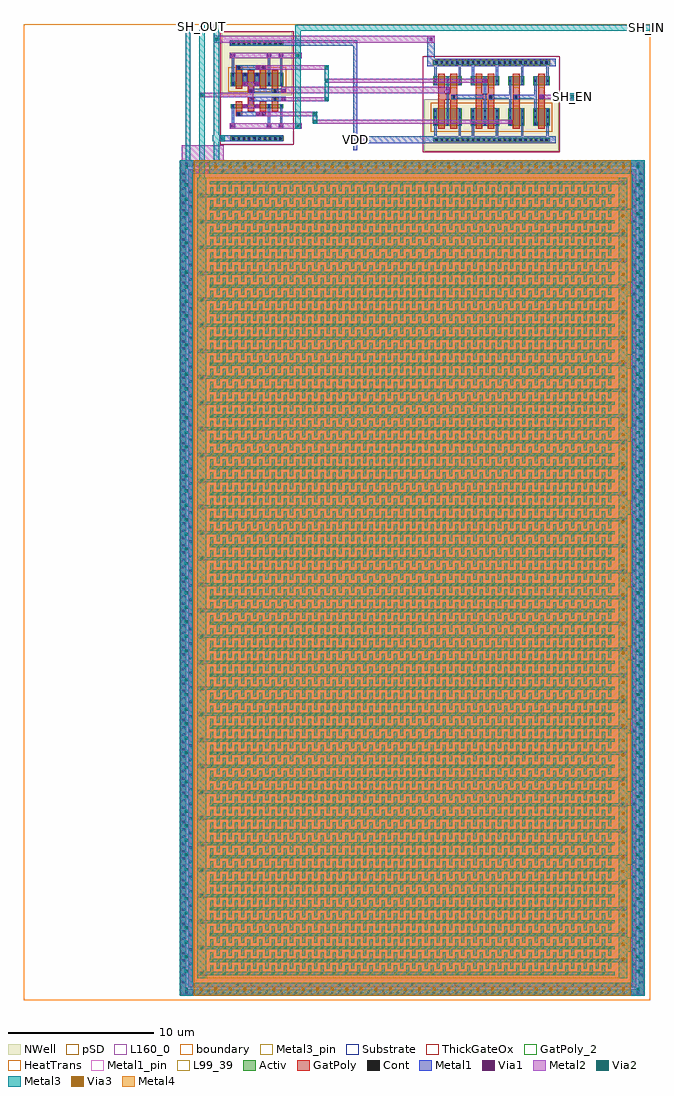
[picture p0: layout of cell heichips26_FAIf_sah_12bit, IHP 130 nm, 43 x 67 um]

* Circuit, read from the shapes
.subckt heichips26_FAIf_sah_12bit SH_EN SH_IN SH_OUT VDD VSS
XM1 SH_OUT n1 SH_IN VSS sg13_hv_nmos w=0.3u l=0.45u m=2
XM2 SH_OUT n2 SH_OUT VSS sg13_hv_nmos w=0.3u l=0.45u
XM3 SH_IN n2 SH_IN VSS sg13_hv_nmos w=0.3u l=0.45u
XM4 n3 n2 VSS VSS sg13_hv_nmos w=0.6u l=0.45u m=2
XM5 n2 n1 VSS VSS sg13_hv_nmos w=0.6u l=0.45u m=2
XM6 VSS n4 n1 VSS sg13_hv_nmos w=0.6u l=0.45u
XM7 VSS SH_EN n4 VSS sg13_hv_nmos w=0.6u l=0.45u
XM8 SH_OUT n2 SH_IN VDD sg13_hv_pmos w=0.9u l=0.45u m=2
XM9 SH_OUT n3 SH_OUT VDD sg13_hv_pmos w=0.9u l=0.45u
XM10 SH_IN n3 SH_IN VDD sg13_hv_pmos w=0.9u l=0.45u
XM11 n3 n2 VDD VDD sg13_hv_pmos w=1.2u l=0.45u m=2
XM12 n2 n1 VDD VDD sg13_hv_pmos w=1.2u l=0.45u m=2
XM13 VDD n4 n1 VDD sg13_hv_pmos w=1.2u l=0.45u
XM14 VDD SH_EN n4 VDD sg13_hv_pmos w=1.2u l=0.45u
.ends

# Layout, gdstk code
from math import pi, radians
import gdstk
lib = gdstk.Library(unit=1e-6, precision=1e-09)
def R(c, l, rs):  # rectangles x0, y0, x1, y1
    for r in rs: c.add(gdstk.rectangle(r[:2], r[2:], *l))
def A(c, l, x, y, w, h, nx, ny, dx, dy):  # array of equal rectangles
    R(c, l, [(x+i*dx, y+j*dy, x+i*dx+w, y+j*dy+h) for i in range(nx) for j in range(ny)])
Activ = (1, 0)
GatPoly = (5, 0)
GatPoly_2 = (5, 2)
Cont = (6, 0)
Metal1 = (8, 0)
Metal1_pin = (8, 2)
Metal2 = (10, 0)
pSD = (14, 0)
Via1 = (19, 0)
Via2 = (29, 0)
Metal3 = (30, 0)
Metal3_pin = (30, 2)
NWell = (31, 0)
Substrate = (40, 0)
ThickGateOx = (44, 0)
Via3 = (49, 0)
Metal4 = (50, 0)
HeatTrans = (51, 0)
L99_39 = (99, 39)
L160_0 = (160, 0)
boundary = (189, 4)

heichips26_faif_sah_sah1 = lib.new_cell('heichips26_FAIf_sah_sah12_drv_nmosHV_w1p2_ng2')
A(heichips26_faif_sah_sah1, Activ, 0, 0, 0.3, 0.3, 3, 1, 0.83, 0)
R(heichips26_faif_sah_sah1, Activ, [(0,0,1.96,0.6)])
R(heichips26_faif_sah_sah1, GatPoly, [(0.34,-0.18,0.79,0.78), (1.17,-0.18,1.62,0.78)])
R(heichips26_faif_sah_sah1, GatPoly_2, [(0.34,-0.18,0.79,0.78)])
A(heichips26_faif_sah_sah1, Cont, 0.07, 0.22, 0.16, 0.16, 3, 1, 0.83, 0)
A(heichips26_faif_sah_sah1, Metal1, 0.07, 0, 0.16, 0.6, 3, 1, 0.83, 0)
R(heichips26_faif_sah_sah1, Metal1_pin, [(0.07,0,0.23,0.6), (0.9,0,1.06,0.6)])
R(heichips26_faif_sah_sah1, ThickGateOx, [(-0.27,-0.52,2.23,1.12)])
R(heichips26_faif_sah_sah1, HeatTrans, [(0.34,-0.18,0.79,0.78), (1.17,-0.18,1.62,0.78)])
heichips26_faif_sah_sah1.add(gdstk.Label('nmosHV', (0.565,0.3), layer=63, texttype=0))
heichips26_faif_sah_sah1.add(gdstk.Label('nmosHV', (0.565,0.3), layer=51, texttype=0))
heichips26_faif_sah_sah1.add(gdstk.Label('nmosHV', (1.395,0.3), layer=51, texttype=0))

c_heichips26_faif_sah_sah1 = lib.new_cell('heichips26_FAIf_sah_sah12_drv_pmosHV_w2p4_ng2')
A(c_heichips26_faif_sah_sah1, Activ, 0, 0, 0.3, 0.3, 3, 1, 0.83, 0)
R(c_heichips26_faif_sah_sah1, Activ, [(0,0,1.96,1.2)])
R(c_heichips26_faif_sah_sah1, GatPoly, [(0.34,-0.18,0.79,1.38), (1.17,-0.18,1.62,1.38)])
R(c_heichips26_faif_sah_sah1, GatPoly_2, [(0.34,-0.18,0.79,1.38)])
A(c_heichips26_faif_sah_sah1, Cont, 0.07, 0.07, 0.16, 0.16, 3, 3, 0.83, 0.45)
A(c_heichips26_faif_sah_sah1, Metal1, 0.07, 0, 0.16, 1.2, 3, 1, 0.83, 0)
R(c_heichips26_faif_sah_sah1, Metal1_pin, [(0.07,0,0.23,1.2), (0.9,0,1.06,1.2)])
R(c_heichips26_faif_sah_sah1, pSD, [(-0.18,-0.4,2.14,1.6)])
R(c_heichips26_faif_sah_sah1, NWell, [(-0.62,-0.62,2.58,1.82)])
R(c_heichips26_faif_sah_sah1, Substrate, [(1.66,0,1.96,0.3)])
R(c_heichips26_faif_sah_sah1, ThickGateOx, [(-0.62,-0.62,2.58,1.82)])
R(c_heichips26_faif_sah_sah1, HeatTrans, [(0.34,-0.18,0.79,1.38), (1.17,-0.18,1.62,1.38)])
c_heichips26_faif_sah_sah1.add(gdstk.Label('pmosHV', (0.565,0.6), layer=63, texttype=0))
c_heichips26_faif_sah_sah1.add(gdstk.Label('pmos', (0.565,0.6), layer=51, texttype=0))
c_heichips26_faif_sah_sah1.add(gdstk.Label('pmos', (1.395,0.6), layer=51, texttype=0))

c_heichips26_faif_sah_sah1_ = lib.new_cell('heichips26_FAIf_sah_sah12_drv_nmosHV_w0p6_ng1')
R(c_heichips26_faif_sah_sah1_, Activ, [(0,0,0.3,0.3), (0,0,1.13,0.6), (0.83,0,1.13,0.3)])
R(c_heichips26_faif_sah_sah1_, GatPoly, [(0.34,-0.18,0.79,0.78)])
R(c_heichips26_faif_sah_sah1_, GatPoly_2, [(0.34,-0.18,0.79,0.78)])
R(c_heichips26_faif_sah_sah1_, Cont, [(0.07,0.22,0.23,0.38), (0.9,0.22,1.06,0.38)])
R(c_heichips26_faif_sah_sah1_, Metal1, [(0.07,0,0.23,0.6), (0.9,0,1.06,0.6)])
R(c_heichips26_faif_sah_sah1_, Metal1_pin, [(0.07,0,0.23,0.6), (0.9,0,1.06,0.6)])
R(c_heichips26_faif_sah_sah1_, ThickGateOx, [(-0.27,-0.52,1.4,1.12)])
R(c_heichips26_faif_sah_sah1_, HeatTrans, [(0.34,-0.18,0.79,0.78)])
c_heichips26_faif_sah_sah1_.add(gdstk.Label('nmosHV', (0.565,0.3), layer=63, texttype=0))
c_heichips26_faif_sah_sah1_.add(gdstk.Label('nmosHV', (0.565,0.3), layer=51, texttype=0))

c_heichips26_faif_sah_sah1__ = lib.new_cell('heichips26_FAIf_sah_sah12_drv_pmosHV_w1p2_ng1')
R(c_heichips26_faif_sah_sah1__, Activ, [(0,0,0.3,0.3), (0,0,1.13,1.2), (0.83,0,1.13,0.3)])
R(c_heichips26_faif_sah_sah1__, GatPoly, [(0.34,-0.18,0.79,1.38)])
R(c_heichips26_faif_sah_sah1__, GatPoly_2, [(0.34,-0.18,0.79,1.38)])
A(c_heichips26_faif_sah_sah1__, Cont, 0.07, 0.07, 0.16, 0.16, 1, 3, 0, 0.45)
A(c_heichips26_faif_sah_sah1__, Cont, 0.9, 0.07, 0.16, 0.16, 1, 3, 0, 0.45)
R(c_heichips26_faif_sah_sah1__, Metal1, [(0.07,0,0.23,1.2), (0.9,0,1.06,1.2)])
R(c_heichips26_faif_sah_sah1__, Metal1_pin, [(0.07,0,0.23,1.2), (0.9,0,1.06,1.2)])
R(c_heichips26_faif_sah_sah1__, pSD, [(-0.18,-0.4,1.31,1.6)])
R(c_heichips26_faif_sah_sah1__, NWell, [(-0.62,-0.62,1.75,1.82)])
R(c_heichips26_faif_sah_sah1__, Substrate, [(0.83,0,1.13,0.3)])
R(c_heichips26_faif_sah_sah1__, ThickGateOx, [(-0.62,-0.62,1.75,1.82)])
R(c_heichips26_faif_sah_sah1__, HeatTrans, [(0.34,-0.18,0.79,1.38)])
c_heichips26_faif_sah_sah1__.add(gdstk.Label('pmosHV', (0.565,0.6), layer=63, texttype=0))
c_heichips26_faif_sah_sah1__.add(gdstk.Label('pmos', (0.565,0.6), layer=51, texttype=0))

c_heichips26_faif_sah_sah1___ = lib.new_cell('heichips26_FAIf_sah_sah12_driver')
R(c_heichips26_faif_sah_sah1___, Activ, [(1,56,8.98,56.3), (1,61.3,8.98,61.6)])
A(c_heichips26_faif_sah_sah1___, GatPoly, 1.34, 58.3, 0.45, 1.6, 3, 1, 1.73, 0)
R(c_heichips26_faif_sah_sah1___, GatPoly, [(5.63,58.3,6.08,59.9), (7.36,58.3,7.81,59.9), (8.19,58.3,8.64,59.9), (4.8,58.9,6.08,59.3), (7.36,58.9,8.64,59.3)])
A(c_heichips26_faif_sah_sah1___, Cont, 1.13, 56.07, 0.16, 0.16, 22, 2, 0.36, 5.3)
A(c_heichips26_faif_sah_sah1___, Cont, 1.485, 59.02, 0.16, 0.16, 3, 1, 1.73, 0)
R(c_heichips26_faif_sah_sah1___, Cont, [(7.505,59.02,7.665,59.18)])
A(c_heichips26_faif_sah_sah1___, Metal1, 1.07, 56.4, 0.16, 0.7, 3, 2, 1.73, 4.1)
A(c_heichips26_faif_sah_sah1___, Metal1, 1.9, 57.1, 0.16, 3.4, 3, 1, 1.73, 0)
A(c_heichips26_faif_sah_sah1___, Metal1, 1.41, 58.945, 0.31, 0.31, 3, 1, 1.73, 0)
R(c_heichips26_faif_sah_sah1___, Metal1, [(0.6,55.9,9.4,56.4), (6.19,56.4,6.35,57.1), (7.09,56.4,7.25,57.1), (8.75,56.4,8.91,57.1), (7.92,57.1,8.08,60.5), (7.43,58.945,7.74,59.255), (1.9,58.97,3.45,59.23), (3.63,58.97,5.18,59.23), (5.36,58.97,7.74,59.23), (6.19,60.5,6.35,61.2), (7.09,60.5,7.25,61.2), (8.75,60.5,8.91,61.2), (0.6,61.2,9.4,61.7)])
R(c_heichips26_faif_sah_sah1___, pSD, [(0.82,56.7,9.16,58.7), (0.97,61.27,9.01,61.63)])
R(c_heichips26_faif_sah_sah1___, NWell, [(0.38,55.38,9.6,58.92)])
R(c_heichips26_faif_sah_sah1___, ThickGateOx, [(0.3,55.3,9.7,61.9)])
c_heichips26_faif_sah_sah1___.add(gdstk.Reference(heichips26_faif_sah_sah1, (4.46,59.9)))
c_heichips26_faif_sah_sah1___.add(gdstk.Reference(heichips26_faif_sah_sah1, (7.02,59.9)))
c_heichips26_faif_sah_sah1___.add(gdstk.Reference(c_heichips26_faif_sah_sah1, (4.46,57.1)))
c_heichips26_faif_sah_sah1___.add(gdstk.Reference(c_heichips26_faif_sah_sah1, (7.02,57.1)))
c_heichips26_faif_sah_sah1___.add(gdstk.Reference(c_heichips26_faif_sah_sah1_, (1,59.9)))
c_heichips26_faif_sah_sah1___.add(gdstk.Reference(c_heichips26_faif_sah_sah1_, (2.73,59.9)))
c_heichips26_faif_sah_sah1___.add(gdstk.Reference(c_heichips26_faif_sah_sah1__, (1,57.1)))
c_heichips26_faif_sah_sah1___.add(gdstk.Reference(c_heichips26_faif_sah_sah1__, (2.73,57.1)))

c_heichips26_faif_sah_sah1____ = lib.new_cell('heichips26_FAIf_sah_sah12_tg_nmosHV_w1p2_ng4')
A(c_heichips26_faif_sah_sah1____, Activ, 0, 0, 0.3, 0.3, 5, 1, 0.83, 0)
R(c_heichips26_faif_sah_sah1____, Activ, [(0,0,3.62,0.3)])
A(c_heichips26_faif_sah_sah1____, GatPoly, 0.34, -0.18, 0.45, 0.66, 4, 1, 0.83, 0)
R(c_heichips26_faif_sah_sah1____, GatPoly_2, [(0.34,-0.18,0.79,0.48)])
A(c_heichips26_faif_sah_sah1____, Cont, 0.07, 0.07, 0.16, 0.16, 5, 1, 0.83, 0)
A(c_heichips26_faif_sah_sah1____, Metal1, 0.07, 0, 0.16, 0.3, 5, 1, 0.83, 0)
R(c_heichips26_faif_sah_sah1____, Metal1_pin, [(0.07,0,0.23,0.3), (0.9,0,1.06,0.3)])
R(c_heichips26_faif_sah_sah1____, ThickGateOx, [(-0.27,-0.52,3.89,0.82)])
A(c_heichips26_faif_sah_sah1____, HeatTrans, 0.34, -0.18, 0.45, 0.66, 4, 1, 0.83, 0)
c_heichips26_faif_sah_sah1____.add(gdstk.Label('nmosHV', (0.565,0.15), layer=63, texttype=0))
c_heichips26_faif_sah_sah1____.add(gdstk.Label('nmosHV', (0.565,0.15), layer=51, texttype=0))
c_heichips26_faif_sah_sah1____.add(gdstk.Label('nmosHV', (1.395,0.15), layer=51, texttype=0))
c_heichips26_faif_sah_sah1____.add(gdstk.Label('nmosHV', (2.225,0.15), layer=51, texttype=0))
c_heichips26_faif_sah_sah1____.add(gdstk.Label('nmosHV', (3.055,0.15), layer=51, texttype=0))

c_heichips26_faif_sah_sah1_____ = lib.new_cell('heichips26_FAIf_sah_sah12_tg_pmosHV_w3p6_ng4')
A(c_heichips26_faif_sah_sah1_____, Activ, 0, 0, 0.3, 0.3, 5, 1, 0.83, 0)
R(c_heichips26_faif_sah_sah1_____, Activ, [(0,0,3.62,0.9)])
A(c_heichips26_faif_sah_sah1_____, GatPoly, 0.34, -0.18, 0.45, 1.26, 4, 1, 0.83, 0)
R(c_heichips26_faif_sah_sah1_____, GatPoly_2, [(0.34,-0.18,0.79,1.08)])
A(c_heichips26_faif_sah_sah1_____, Cont, 0.07, 0.07, 0.16, 0.16, 5, 2, 0.83, 0.6)
A(c_heichips26_faif_sah_sah1_____, Metal1, 0.07, 0, 0.16, 0.9, 5, 1, 0.83, 0)
R(c_heichips26_faif_sah_sah1_____, Metal1_pin, [(0.07,0,0.23,0.9), (0.9,0,1.06,0.9)])
R(c_heichips26_faif_sah_sah1_____, pSD, [(-0.18,-0.4,3.8,1.3)])
R(c_heichips26_faif_sah_sah1_____, NWell, [(-0.62,-0.62,4.24,1.52)])
R(c_heichips26_faif_sah_sah1_____, Substrate, [(3.32,0,3.62,0.3)])
R(c_heichips26_faif_sah_sah1_____, ThickGateOx, [(-0.62,-0.62,4.24,1.52)])
A(c_heichips26_faif_sah_sah1_____, HeatTrans, 0.34, -0.18, 0.45, 1.26, 4, 1, 0.83, 0)
c_heichips26_faif_sah_sah1_____.add(gdstk.Label('pmosHV', (0.565,0.45), layer=63, texttype=0))
c_heichips26_faif_sah_sah1_____.add(gdstk.Label('pmos', (0.565,0.45), layer=51, texttype=0))
c_heichips26_faif_sah_sah1_____.add(gdstk.Label('pmos', (1.395,0.45), layer=51, texttype=0))
c_heichips26_faif_sah_sah1_____.add(gdstk.Label('pmos', (2.225,0.45), layer=51, texttype=0))
c_heichips26_faif_sah_sah1_____.add(gdstk.Label('pmos', (3.055,0.45), layer=51, texttype=0))

c_heichips26_faif_sah_sah1______ = lib.new_cell('heichips26_FAIf_sah_sah12_tgate')
R(c_heichips26_faif_sah_sah1______, Activ, [(0,59,3.62,59.3), (0,65.54,3.62,65.84)])
R(c_heichips26_faif_sah_sah1______, GatPoly, [(1.17,60.67,1.62,61.2), (2.83,60.67,3.28,61.2), (0.34,61.5,0.79,61.985), (2,61.5,2.45,61.985), (0.34,62.255,0.79,62.74), (2,62.255,2.45,62.74), (1.17,63.64,1.62,64.17), (2.83,63.64,3.28,64.17)])
A(c_heichips26_faif_sah_sah1______, Cont, 0.11, 59.07, 0.16, 0.16, 10, 2, 0.36, 6.54)
R(c_heichips26_faif_sah_sah1______, Cont, [(1.315,60.74,1.475,60.9), (2.975,60.74,3.135,60.9), (0.485,61.755,0.645,61.915), (2.145,61.755,2.305,61.915), (0.485,62.325,0.645,62.485), (2.145,62.325,2.305,62.485), (1.315,63.94,1.475,64.1), (2.975,63.94,3.135,64.1)])
R(c_heichips26_faif_sah_sah1______, Metal1, [(0,58.95,4.42,59.35), (4.075,59.005,4.365,59.295), (-0.005,59.8,0.305,60.2), (0.825,59.8,1.135,60.2), (3.315,59.8,3.625,60.2), (0.07,60,0.23,61.2), (0.9,60,1.06,61.2), (3.39,60,3.55,61.2), (1.24,60.665,3.21,60.975), (1.6,60.675,1.89,60.965), (1.655,61.2,1.965,61.5), (2.485,61.2,2.795,61.5), (-0.15,61.68,2.38,61.99), (-0.15,61.69,0.14,61.98), (-0.15,62.25,2.38,62.56), (-0.15,62.26,0.14,62.55), (1.655,62.74,1.965,63.64), (2.485,62.74,2.795,63.64), (0.07,63.64,0.23,64.84), (0.9,63.64,1.06,64.84), (3.39,63.64,3.55,64.84), (1.24,63.865,3.21,64.175), (1.6,63.875,1.89,64.165), (-0.005,64.64,0.305,65.04), (0.825,64.64,1.135,65.04), (3.315,64.64,3.625,65.04), (-5.08,65.49,3.67,65.89)])
R(c_heichips26_faif_sah_sah1______, Metal2, [(4.02,58.95,4.42,59.35), (4.075,59.005,4.365,59.295), (4.075,59.005,4.365,59.295), (-1.25,59.8,3.67,60.2), (-1.145,59.855,-0.855,60.145), (1.6,60.675,1.89,60.965), (1.66,61.2,2.79,61.5), (2.075,61.2,2.375,63.04), (-0.15,61.69,0.14,61.98), (2.075,61.97,5.74,62.27), (5.445,61.975,5.735,62.265), (-0.15,62.26,0.14,62.55), (1.66,62.74,2.79,63.04), (1.6,63.875,1.89,64.165), (-1.25,64.64,3.67,65.04), (-1.145,64.695,-0.855,64.985)])
R(c_heichips26_faif_sah_sah1______, pSD, [(-0.03,58.97,3.65,59.33)])
R(c_heichips26_faif_sah_sah1______, Via1, [(4.125,59.055,4.315,59.245), (0.055,59.905,0.245,60.095), (0.885,59.905,1.075,60.095), (3.375,59.905,3.565,60.095), (1.65,60.725,1.84,60.915), (1.715,61.255,1.905,61.445), (2.545,61.255,2.735,61.445), (-0.1,61.74,0.09,61.93), (-0.1,62.31,0.09,62.5), (1.715,62.795,1.905,62.985), (2.545,62.795,2.735,62.985), (1.65,63.925,1.84,64.115), (0.055,64.745,0.245,64.935), (0.885,64.745,1.075,64.935), (3.375,64.745,3.565,64.935)])
R(c_heichips26_faif_sah_sah1______, Via2, [(4.125,59.055,4.315,59.245), (-1.095,59.905,-0.905,60.095), (5.495,62.025,5.685,62.215), (-1.095,64.745,-0.905,64.935)])
R(c_heichips26_faif_sah_sah1______, Metal3, [(4.02,58.95,4.84,59.35), (4.075,59.005,4.365,59.295), (-1.2,59.8,-0.8,65.04), (-1.145,59.855,-0.855,60.145), (5.445,61.975,5.735,62.265), (-1.145,64.695,-0.855,64.985)])
R(c_heichips26_faif_sah_sah1______, NWell, [(-0.62,62.12,4.24,66.46)])
R(c_heichips26_faif_sah_sah1______, ThickGateOx, [(-0.7,58.7,4.32,66.49)])
c_heichips26_faif_sah_sah1______.add(gdstk.Reference(c_heichips26_faif_sah_sah1____, (0,61.2)))
c_heichips26_faif_sah_sah1______.add(gdstk.Reference(c_heichips26_faif_sah_sah1_____, (0,62.74)))

c_heichips26_faif_sah_sah1_______ = lib.new_cell('heichips26_FAIf_sah_sah12_cap_cmomi')
A(c_heichips26_faif_sah_sah1_______, Metal1, -0.755, -0.155, 0.31, 0.31, 1, 31, 0, 1.78)
A(c_heichips26_faif_sah_sah1_______, Metal1, -0.9, -0.105, 28.67, 0.21, 1, 31, 0, 1.78)
A(c_heichips26_faif_sah_sah1_______, Metal1, 0, 0, 0.21, 0.575, 33, 61, 0.84, 0.89)
A(c_heichips26_faif_sah_sah1_______, Metal1, 0.42, 0.315, 0.21, 0.575, 33, 61, 0.84, 0.89)
A(c_heichips26_faif_sah_sah1_______, Metal1, 28.165, 0.735, 0.31, 0.31, 1, 31, 0, 1.78)
A(c_heichips26_faif_sah_sah1_______, Metal1, -0.05, 0.785, 28.67, 0.21, 1, 31, 0, 1.78)
A(c_heichips26_faif_sah_sah1_______, Metal2, -0.755, -0.155, 0.31, 0.31, 1, 31, 0, 1.78)
A(c_heichips26_faif_sah_sah1_______, Metal2, -0.9, -0.105, 28.67, 0.21, 1, 31, 0, 1.78)
A(c_heichips26_faif_sah_sah1_______, Metal2, 0, 0, 0.21, 0.575, 33, 61, 0.84, 0.89)
A(c_heichips26_faif_sah_sah1_______, Metal2, 0.42, 0.315, 0.21, 0.575, 33, 61, 0.84, 0.89)
A(c_heichips26_faif_sah_sah1_______, Metal2, 28.165, 0.735, 0.31, 0.31, 1, 31, 0, 1.78)
A(c_heichips26_faif_sah_sah1_______, Metal2, -0.05, 0.785, 28.67, 0.21, 1, 31, 0, 1.78)
A(c_heichips26_faif_sah_sah1_______, Via1, -0.695, -0.095, 0.19, 0.19, 1, 31, 0, 1.78)
A(c_heichips26_faif_sah_sah1_______, Via1, 0.01, -0.095, 0.19, 0.19, 33, 1, 0.84, 0)
A(c_heichips26_faif_sah_sah1_______, Via1, 0.01, 0.795, 0.19, 0.19, 66, 60, 0.42, 0.89)
A(c_heichips26_faif_sah_sah1_______, Via1, 28.225, 0.795, 0.19, 0.19, 1, 31, 0, 1.78)
A(c_heichips26_faif_sah_sah1_______, Via1, 0.43, 54.195, 0.19, 0.19, 33, 1, 0.84, 0)
A(c_heichips26_faif_sah_sah1_______, Via2, -0.695, -0.095, 0.19, 0.19, 1, 31, 0, 1.78)
A(c_heichips26_faif_sah_sah1_______, Via2, 0.01, -0.095, 0.19, 0.19, 33, 1, 0.84, 0)
A(c_heichips26_faif_sah_sah1_______, Via2, 0.01, 0.795, 0.19, 0.19, 66, 60, 0.42, 0.89)
A(c_heichips26_faif_sah_sah1_______, Via2, 28.225, 0.795, 0.19, 0.19, 1, 31, 0, 1.78)
A(c_heichips26_faif_sah_sah1_______, Via2, 0.43, 54.195, 0.19, 0.19, 33, 1, 0.84, 0)
A(c_heichips26_faif_sah_sah1_______, Metal3, -0.9, -0.105, 28.67, 0.21, 1, 31, 0, 1.78)
A(c_heichips26_faif_sah_sah1_______, Metal3, 0, 0, 0.21, 0.575, 33, 61, 0.84, 0.89)
A(c_heichips26_faif_sah_sah1_______, Metal3, 0.42, 0.315, 0.21, 0.575, 33, 61, 0.84, 0.89)
A(c_heichips26_faif_sah_sah1_______, Metal3, -0.05, 0.785, 28.67, 0.21, 1, 31, 0, 1.78)
R(c_heichips26_faif_sah_sah1_______, Metal3, [(-0.9,-0.32,-0.3,54.61), (28.02,-0.32,28.62,54.61)])
R(c_heichips26_faif_sah_sah1_______, Metal3_pin, [(-0.7,27.04,-0.5,27.25), (28.22,27.04,28.42,27.25)])
R(c_heichips26_faif_sah_sah1_______, L99_39, [(-0.9,-0.32,28.62,54.61)])
R(c_heichips26_faif_sah_sah1_______, L160_0, [(-0.9,-0.32,28.62,54.61)])
c_heichips26_faif_sah_sah1_______.add(gdstk.Label('cap_cmomi C=1213.803fF', (-0.9,-0.82), layer=63, texttype=0))

heichips26_faif_sah_12bi = lib.new_cell('heichips26_FAIf_sah_12bit')
R(heichips26_faif_sah_12bi, Activ, [(10.81,0.4,42.53,0.7), (10.81,0.7,11.11,57.23), (42.23,0.7,42.53,57.23), (10.81,57.23,42.53,57.53)])
R(heichips26_faif_sah_12bi, GatPoly, [(11.3,0.89,42.04,57.04)])
A(heichips26_faif_sah_12bi, Cont, 11.09, 0.47, 0.16, 0.16, 63, 2, 0.5, 56.83)
A(heichips26_faif_sah_12bi, Cont, 11.59, 0.96, 0.16, 0.16, 31, 2, 1, 55.85)
A(heichips26_faif_sah_12bi, Cont, 10.88, 1.135, 0.16, 0.16, 1, 112, 0, 0.5)
A(heichips26_faif_sah_12bi, Cont, 42.3, 1.135, 0.16, 0.16, 1, 112, 0, 0.5)
A(heichips26_faif_sah_12bi, Cont, 11.37, 2.385, 0.16, 0.16, 1, 54, 0, 1)
A(heichips26_faif_sah_12bi, Cont, 41.81, 2.385, 0.16, 0.16, 1, 54, 0, 1)
R(heichips26_faif_sah_12bi, Metal1, [(10.71,0.3,42.63,1.2), (10.71,1.2,11.61,56.73), (41.73,1.2,42.63,56.73), (10.71,56.73,42.63,57.63), (22.6,58.34,22.9,65.89), (22.6,58.8,27.8,59.3), (22.72,58.925,23.01,59.215), (23.285,58.925,23.575,59.215), (33.245,60.15,33.535,60.44), (35.39,61.855,35.68,62.145), (28.955,62.405,29.245,62.695), (31.515,62.955,31.805,63.245), (27.7,64.1,28.2,66.2)])
R(heichips26_faif_sah_12bi, Metal2, [(10.71,0.3,42.63,1.2), (10.71,1.2,11.61,56.73), (41.73,1.2,42.63,56.73), (10.71,56.73,42.63,57.63), (10.83,56.93,13.73,58.68), (22.685,58.925,22.975,59.215), (22.685,58.925,23.575,59.215), (23.285,58.925,23.575,59.215), (19.85,60.15,33.535,60.44), (19.855,60.15,20.145,60.44), (33.245,60.15,33.535,60.44), (15.93,60.675,20.15,60.965), (19.855,60.675,20.145,60.965), (17.68,61.69,20.95,61.98), (20.655,61.69,20.945,61.98), (35.39,61.855,35.68,62.145), (35.39,61.855,37.58,62.145), (35.88,61.855,37.77,62.145), (36.12,61.855,36.41,62.145), (37.48,61.855,37.77,62.145), (17.68,62.26,29.245,62.695), (28.955,62.405,29.245,62.695), (20.65,62.955,31.805,63.245), (20.655,62.955,20.945,63.245), (31.515,62.955,31.805,63.245), (15.93,63.875,20.95,64.165), (20.655,63.875,20.945,64.165), (13.03,65.7,28.2,66.2)])
R(heichips26_faif_sah_12bi, pSD, [(10.78,0.37,42.56,0.73), (10.78,0.73,11.14,57.2), (42.2,0.73,42.56,57.2), (10.78,57.2,42.56,57.56)])
A(heichips26_faif_sah_12bi, Via1, 11.075, 0.655, 0.19, 0.19, 32, 2, 1, 56.43)
A(heichips26_faif_sah_12bi, Via1, 11.065, 1.87, 0.19, 0.19, 1, 55, 0, 1)
A(heichips26_faif_sah_12bi, Via1, 42.085, 1.87, 0.19, 0.19, 1, 55, 0, 1)
R(heichips26_faif_sah_12bi, Via1, [(22.77,58.975,22.96,59.165), (23.335,58.975,23.525,59.165), (33.295,60.2,33.485,60.39), (35.44,61.905,35.63,62.095), (29.005,62.455,29.195,62.645), (31.565,63.005,31.755,63.195), (27.855,65.855,28.045,66.045)])
A(heichips26_faif_sah_12bi, Via2, 11.075, 0.655, 0.19, 0.19, 32, 1, 1, 0)
A(heichips26_faif_sah_12bi, Via2, 11.065, 1.87, 0.19, 0.19, 1, 55, 0, 1)
A(heichips26_faif_sah_12bi, Via2, 42.085, 1.87, 0.19, 0.19, 1, 55, 0, 1)
A(heichips26_faif_sah_12bi, Via2, 13.075, 57.085, 0.19, 0.19, 30, 1, 1, 0)
R(heichips26_faif_sah_12bi, Via2, [(11.075,57.085,11.265,57.275), (22.735,58.975,22.925,59.165), (19.905,60.2,20.095,60.39), (19.905,60.725,20.095,60.915), (20.705,61.74,20.895,61.93), (37.53,61.905,37.72,62.095), (20.705,63.005,20.895,63.195), (20.705,63.925,20.895,64.115), (13.135,65.855,13.325,66.045)])
A(heichips26_faif_sah_12bi, Metal3, 41.13, 3.32, 0.7, 1, 1, 11, 0, 5)
R(heichips26_faif_sah_12bi, Metal3, [(10.71,0.3,42.63,1.2), (10.71,1.2,11.61,56.73), (41.73,1.2,42.63,56.73), (12.03,56.2,12.43,67), (10.71,56.73,11.73,57.63), (12.73,56.73,42.63,57.63), (11.13,57.03,11.43,67), (13.03,57.03,13.43,67), (22.53,58.82,23.03,59.32), (22.685,58.925,22.975,59.215), (19.85,60.15,20.15,60.965), (19.855,60.15,20.145,60.44), (19.855,60.675,20.145,60.965), (20.65,61.69,20.95,64.165), (20.655,61.69,20.945,61.98), (37.425,61.75,37.925,62.25), (37.48,61.855,37.77,62.145), (20.655,62.955,20.945,63.245), (20.655,63.875,20.945,64.165), (18.62,64.84,19.02,66.95), (18.62,66.55,43,66.95), (42.5,66.55,43,66.95), (12.03,66.6,12.43,67), (13.03,66.6,13.43,67)])
R(heichips26_faif_sah_12bi, Metal3_pin, [(22.53,58.82,23.03,59.32), (37.425,61.75,37.925,62.25), (42.5,66.55,43,66.95), (12.03,66.6,12.43,67), (13.03,66.6,13.43,67)])
A(heichips26_faif_sah_12bi, Via3, 12.075, 0.655, 0.19, 0.19, 30, 1, 1, 0)
A(heichips26_faif_sah_12bi, Via3, 41.035, 2.725, 0.19, 0.19, 1, 53, 0, 1)
A(heichips26_faif_sah_12bi, Via3, 13.075, 57.085, 0.19, 0.19, 29, 1, 1, 0)
R(heichips26_faif_sah_12bi, Metal4, [(11.68,0.3,41.66,57.63)])
R(heichips26_faif_sah_12bi, L160_0, [(0,0,43,67)])
R(heichips26_faif_sah_12bi, boundary, [(0,0,43,67)])
heichips26_faif_sah_12bi.add(gdstk.Reference(c_heichips26_faif_sah_sah1___, (37.1,2.9), rotation=pi, x_reflection=True))
heichips26_faif_sah_12bi.add(gdstk.Reference(c_heichips26_faif_sah_sah1______, (17.82,0), rotation=pi, x_reflection=True))
heichips26_faif_sah_12bi.add(gdstk.Reference(c_heichips26_faif_sah_sah1_______, (12.81,1.82)))
heichips26_faif_sah_12bi.add(gdstk.Label('SH_EN', (37.675,62), layer=30, texttype=25))
heichips26_faif_sah_12bi.add(gdstk.Label('VDD', (22.78,59.07), layer=30, texttype=25))
heichips26_faif_sah_12bi.add(gdstk.Label('SH_IN', (42.75,66.75), layer=30, texttype=25))
heichips26_faif_sah_12bi.add(gdstk.Label('SH_OUT', (12.23,66.8), layer=30, texttype=25))
heichips26_faif_sah_12bi.add(gdstk.Label('VSS', (13.23,66.8), layer=30, texttype=25))

lib.write_gds('heichips26_FAIf_sah_12bit.gds')
